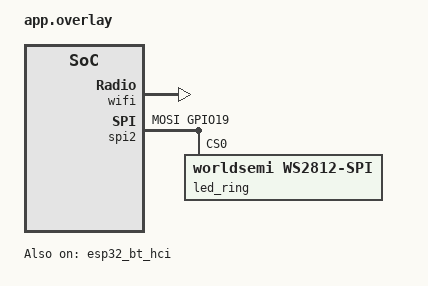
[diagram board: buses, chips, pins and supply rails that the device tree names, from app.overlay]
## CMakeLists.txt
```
cmake_minimum_required(VERSION 3.20.0)

find_package(Zephyr REQUIRED HINTS $ENV{ZEPHYR_BASE})
project(homestation_esp32)

zephyr_include_directories(${CMAKE_CURRENT_SOURCE_DIR})

add_subdirectory(src/modules/ble)
add_subdirectory(src/modules/diagnostics)
add_subdirectory(src/modules/led)
add_subdirectory(src/modules/lora)
add_subdirectory(src/modules/mqtt)
add_subdirectory(src/modules/provisioning)
add_subdirectory(src/modules/wifi)
add_subdirectory(src/modules/error)

target_sources(app PRIVATE src/main.c)
```

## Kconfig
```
menu "Homestation ESP32"

config DEVICE_ID
	string "The FindMyCat Device ID this Homestation belongs to"

rsource "src/modules/ble/Kconfig.ble"
rsource "src/modules/lora/Kconfig.lora"
rsource "src/modules/mqtt/Kconfig.mqtt"
rsource "src/modules/wifi/Kconfig.wifi"
rsource "src/modules/error/Kconfig.error"
rsource "src/modules/led/Kconfig.led"

endmenu

menu "Zephyr Kernel"
source "Kconfig.zephyr"
endmenu
```

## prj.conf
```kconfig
# Logging
CONFIG_LOG=y
# CONFIG_LOG_MODE_IMMEDIATE=y
CONFIG_CBPRINTF_FP_SUPPORT=y
# CONFIG_NET_LOG=y

# Fatal errors reboot (CONFIG_ERROR_REBOOT_ON_FATAL)
CONFIG_REBOOT=y

# Stacks and heap
CONFIG_MAIN_STACK_SIZE=4096
CONFIG_SYSTEM_WORKQUEUE_STACK_SIZE=2048
CONFIG_STACK_SENTINEL=y
CONFIG_HEAP_MEM_POOL_SIZE=45056

# PSRAM config
CONFIG_ESP_SPIRAM=y
CONFIG_ESP32_WIFI_NET_ALLOC_SPIRAM=y
CONFIG_ESP_SPIRAM_BSS_RELOC_LIBS_AND_OBJS="libmodules__mbedtls.a"

CONFIG_UART_INTERRUPT_DRIVEN=y
CONFIG_RING_BUFFER=y

# LED ring on SPI2
CONFIG_LED_STRIP=y
CONFIG_SPI_ESP32_INTERRUPT=y

# Bluetooth
CONFIG_BT=y
CONFIG_BT_OBSERVER=y
CONFIG_BT_PERIPHERAL=y
CONFIG_BT_DEVICE_NAME="FindMyCatHomeStation"
CONFIG_BT_RX_STACK_SIZE=2048
CONFIG_BLE_SCANNER=y
CONFIG_BLE_BEACON=y
CONFIG_BT_SMP=y
CONFIG_BT_LONG_WQ_STACK_SIZE=3072
CONFIG_MBEDTLS_PSA_P256M_DRIVER_ENABLED=n
CONFIG_BT_BONDABLE=n

# Flash settings
CONFIG_NVS=y
CONFIG_SETTINGS=y
CONFIG_SETTINGS_NVS=y

# WiFi
CONFIG_WIFI=y
CONFIG_ESP32_WIFI_STA_RECONNECT=y

# Networking
CONFIG_NETWORKING=y
CONFIG_NET_IPV4=y
CONFIG_NET_IPV6=n
CONFIG_NET_DHCPV4=y
CONFIG_NET_TCP=y
CONFIG_NET_SOCKETS=y
CONFIG_DNS_RESOLVER=y
CONFIG_NET_MAX_CONTEXTS=3
CONFIG_NET_MGMT_EVENT_QUEUE_SIZE=10
CONFIG_NET_MGMT_EVENT_STACK_SIZE=4096
CONFIG_NET_TC_RX_COUNT=0
CONFIG_NET_PKT_RX_COUNT=16
CONFIG_NET_PKT_TX_COUNT=8
CONFIG_NET_BUF_RX_COUNT=48
CONFIG_NET_BUF_TX_COUNT=16

CONFIG_MBEDTLS=y
CONFIG_MBEDTLS_ENABLE_HEAP=y
CONFIG_MBEDTLS_HEAP_SIZE=90000
CONFIG_MBEDTLS_SSL_IN_CONTENT_LEN=16384
CONFIG_MBEDTLS_SSL_OUT_CONTENT_LEN=2048
CONFIG_MBEDTLS_PEM_PARSE_C=y
CONFIG_MBEDTLS_CIPHERSUITE_TLS_ECDHE_ECDSA_WITH_AES_128_GCM_SHA256=y
CONFIG_MBEDTLS_CIPHERSUITE_TLS_ECDHE_RSA_WITH_AES_128_GCM_SHA256=y
CONFIG_PSA_WANT_KEY_TYPE_RSA_PUBLIC_KEY=y
CONFIG_PSA_WANT_KEY_TYPE_ECC_PUBLIC_KEY=y
CONFIG_PSA_WANT_ALG_SHA_384=y
CONFIG_PSA_WANT_ALG_SHA_512=y
CONFIG_NET_SOCKETS_SOCKOPT_TLS=y
CONFIG_TLS_CREDENTIALS=y

# MQTT
CONFIG_MQTT_LIB=y
CONFIG_MQTT_LIB_TLS=y
CONFIG_MQTT_PUBLISHER=y
CONFIG_MQTT_PUBLISHER_TLS=y
```

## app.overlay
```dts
/* RAK3172 LoRa module on UART1, the board's silkscreened TX/RX pins:
 * GPIO8 = TX (to RAK3172 RX), GPIO7 = RX (to RAK3172 TX). Pins and speed come
 * from the Feather's own board definition, so nothing is overridden here.
 */

/* Station mode for the geolocation lookup; disabled by default on this board */
&wifi {
	status = "okay";
};

/* Controller for the BLE tag scan. Shares the one radio with WiFi above. */
&esp32_bt_hci {
	status = "okay";
};

/ {
	aliases {
		rak3172-uart = &uart1;
		led-ring = &led_ring;
	};
};

/* Onboard NeoPixel unused; the ring is the status LED. Disabled, its power
 * domain is never claimed, so the pixel stays unpowered. */
&led_strip {
	status = "disabled";
};

/* 16-pixel SK6812 RGBW ring, DIN on the Feather's MO pin (GPIO19). It gets
 * SPI2, with only MOSI routed out so SCK and MISO stay free. Same bit timing
 * as the onboard SK6812. */
&pinctrl {
	spim2_led_ring: spim2_led_ring {
		group1 {
			pinmux = <SPIM2_MOSI_GPIO19>;
			output-low;
		};
	};
};

&spi2 {
	status = "okay";
	line-idle-low;
	/* 16 RGBW pixels are 512 SPI bytes a frame. Without DMA the driver sends
	 * 64-byte chunks, and the gaps between them latch the ring mid-frame so
	 * only a pixel or two ever updates. */
	dma-enabled;
	pinctrl-0 = <&spim2_led_ring>;
	pinctrl-names = "default";

	led_ring: ws2812@0 {
		compatible = "worldsemi,ws2812-spi";
		reg = <0>;
		spi-max-frequency = <WS2812C_SPI_FREQ>;

		chain-length = <16>;
		/* SK6812 RGBW: 32 bits a pixel, G R B W. The white channel is sent
		 * dark; colours come from RGB only. */
		color-mapping = <LED_COLOR_ID_GREEN>,
				<LED_COLOR_ID_RED>,
				<LED_COLOR_ID_BLUE>,
				<LED_COLOR_ID_WHITE>;
		spi-one-frame = <WS2812C_ONE_FRAME>;
		spi-zero-frame = <WS2812C_ZERO_FRAME>;
	};
};
```

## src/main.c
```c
#include <zephyr/kernel.h>
#include <zephyr/logging/log.h>

#include "lora.h"
#include "modules/diagnostics/diagnostics.h"
#include "provisioning.h"
#include "status_led.h"
#include "wifi_station.h"
#if defined(CONFIG_BLE_SCANNER)
#include "ble_scanner.h"
#endif
#if defined(CONFIG_BLE_BEACON)
#include "ble_beacon.h"
#endif
#if defined(CONFIG_MQTT_PUBLISHER)
#include "mqtt_publisher.h"
#endif
#if defined(CONFIG_ESP32_SW_COEXIST_ENABLE)
#include <private/esp_coexist_internal.h>
#endif

LOG_MODULE_REGISTER(main, LOG_LEVEL_INF);

int main(void) {
  LOG_INF("FindMyCat HomeStation ESP32 starting");

  provisioning_init();
  provisioning_button_start();

  int err = wifi_station_connect();

  if (err) {
    LOG_ERR("Error: WiFi station connect failed (%d)", err);
  }

  diagnostics_run();

#if defined(CONFIG_ESP32_SW_COEXIST_ENABLE)
  // Prefering BT for COEX as the collar only advertises so often and packets
  // are being missed due to wifi taking up more Radio time.
  coex_preference_set(COEX_PREFER_BT);
  LOG_INF("Radio arbitration set to prefer Bluetooth");
#endif

#if defined(CONFIG_BLE_SCANNER_RUN)
  ble_scanner_start();
#endif
  /* After the scanner, which is what calls bt_enable(). */
#if defined(CONFIG_BLE_BEACON)
  ble_beacon_start();
#endif

#if defined(CONFIG_MQTT_PUBLISHER)
  mqtt_publisher_start();
#endif

  status_led_start();

  lora_start();

  LOG_INF("All modules started");

  return 0;
}
```
